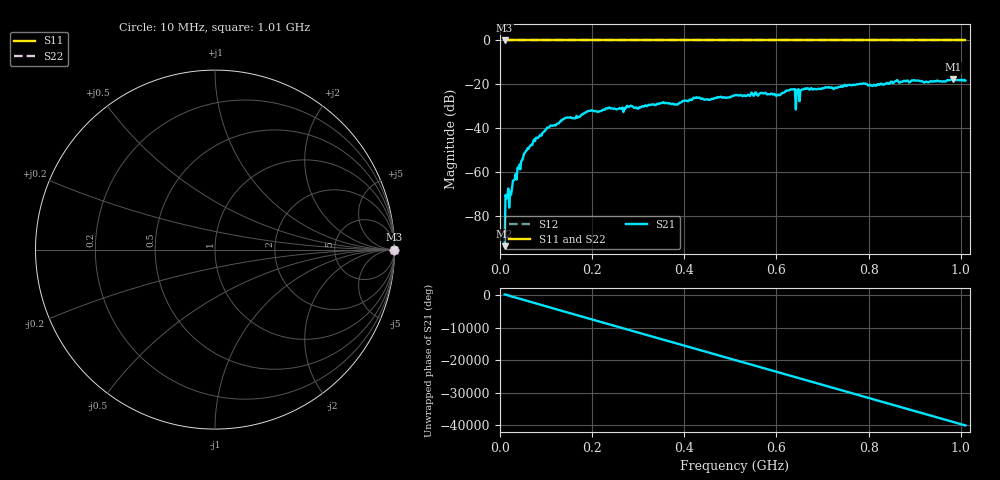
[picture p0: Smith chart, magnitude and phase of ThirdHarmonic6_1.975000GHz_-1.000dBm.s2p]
! 8/16/2025 11:45:29 PM
! C:\ANRITSUVNA\TEMP\TEMP.S2P
! CHANNEL.1
! TR.MEASUREMENT
! RAW.DATA
! RF.CORRECTION.OFF
! AVERAGING.OFF
! IF.BANDWIDTH: 5KHZ
! SWEEPTYPE:  FREQ.SWEEP(Linear)
! Reference Plane Port Info
! PORT:  PORT1  PORT2
! DISTANCE:  0  m  0  m
! TIME:  0  s  0  s
! PHASE.OFFSET:  0  deg.  0  deg.
! LOSS:  0  dB  0  dB
! REF.LOSS:  0  dB  0  dB
! REF.FREQ:  0  Hz  0  Hz
! Power Info
! POWER:  -20  dBm  -20  dBm
! EFF.POWER:  -20  dBm  -20  dBm
! SOURCE.ATTEN:  0  dB  0  dB
! TEST.ATTEN:  0  dB  0  dB
# GHZ S RI R 50.0
! FREQ.GHZ  S11RE  S11IM  S21RE  S21IM  S12RE  S12IM  S22RE  S22IM
!; PortSelection: Port_12
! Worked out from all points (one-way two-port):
!   501 points, 10 MHz to 1.01 GHz, reference 50 ohm
!   highest |S21| = -17.70 dB at 984 MHz (marker M1); lowest = -93.6 dB at 10 MHz (marker M2)
!   lowest |S11| = 0.0 dB at 10 MHz (marker M3)
!   |S11| at or under -10 dB: nowhere
!   |S22| runs from 0.0 to 0.0 dB; largest |S21 - S12| = 1.1
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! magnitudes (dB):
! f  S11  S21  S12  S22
! 10 MHz  0.0  -93.6  0.0  0.0
! 14 MHz  0.0  -71.9  0.0  0.0
! 24 MHz  0.0  -70.2  0.0  0.0
! 30 MHz  0.0  -63.7  0.0  0.0
! 50 MHz  0.0  -53.4  0.0  0.0
! 76 MHz  0.0  -45.8  0.0  0.0
! 106 MHz  0.0  -39.5  0.0  0.0
! 140 MHz  0.0  -35.5  0.0  0.0
! 178 MHz  0.0  -33.6  0.0  0.0
! 234 MHz  0.0  -31.0  0.0  0.0
! 344 MHz  0.0  -29.0  0.0  0.0
! 382 MHz  0.0  -29.0  0.0  0.0
! 510 MHz  0.0  -24.9  0.0  0.0
! 604 MHz  0.0  -24.7  0.0  0.0
! 636 MHz  0.0  -22.3  0.0  0.0
! 638 MHz  0.0  -22.2  0.0  0.0
! 646 MHz  0.0  -22.4  0.0  0.0
! 656 MHz  0.0  -22.3  0.0  0.0
! 678 MHz  0.0  -22.3  0.0  0.0
! 844 MHz  0.0  -19.8  0.0  0.0
! 984 MHz  0.0  -17.7  0.0  0.0
! 1.01 GHz  0.0  -18.3  0.0  0.0
